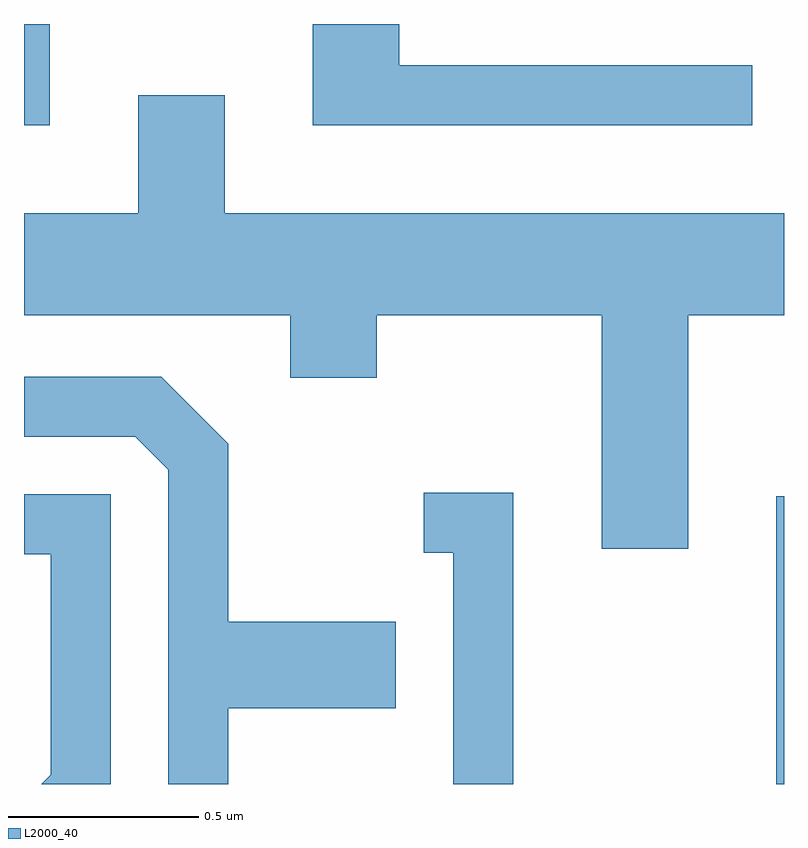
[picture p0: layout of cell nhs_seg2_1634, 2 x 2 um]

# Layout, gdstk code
import gdstk
lib = gdstk.Library(unit=1e-6, precision=1e-09)
def R(c, l, rs):  # rectangles x0, y0, x1, y1
    for r in rs: c.add(gdstk.rectangle(r[:2], r[2:], *l))
def P(c, l, *ps):  # polygons
    for p in ps: c.add(gdstk.Polygon(p, *l))
L2000_40 = (2000, 40)

nhs_seg2_1634 = lib.new_cell('nhs_seg2_1634')
R(nhs_seg2_1634, L2000_40, [(198.591,1104.802,198.611,1105.559), (196.611,1106.536,196.679,1106.802)])
P(nhs_seg2_1634, L2000_40, [(198.528,1106.694),(197.599,1106.694),(197.599,1106.802),(197.371,1106.802),(197.371,1106.536),(198.528,1106.536)],
  [(198.359,1106.036),(198.611,1106.036),(198.611,1106.304),(197.139,1106.304),(197.139,1106.614),(196.911,1106.614),(196.911,1106.304),(196.611,1106.304),(196.611,1106.036),(197.311,1106.036),(197.311,1105.871),(197.539,1105.871),(197.539,1106.036),(198.131,1106.036),(198.131,1105.421),(198.359,1105.421)],
  [(197.149,1105.001),(197.589,1105.001),(197.589,1105.229),(197.149,1105.229),(197.149,1105.697),(196.972,1105.874),(196.611,1105.874),(196.611,1105.716),(196.904,1105.716),(196.991,1105.629),(196.991,1104.802),(197.149,1104.802)],
  [(197.899,1105.569),(197.663,1105.569),(197.663,1105.411),(197.741,1105.411),(197.741,1104.802),(197.899,1104.802)],
  [(196.839,1105.564),(196.611,1105.564),(196.611,1105.406),(196.681,1105.406),(196.681,1104.827),(196.656,1104.802),(196.839,1104.802)])

lib.write_gds('nhs_seg2_1634.gds')
